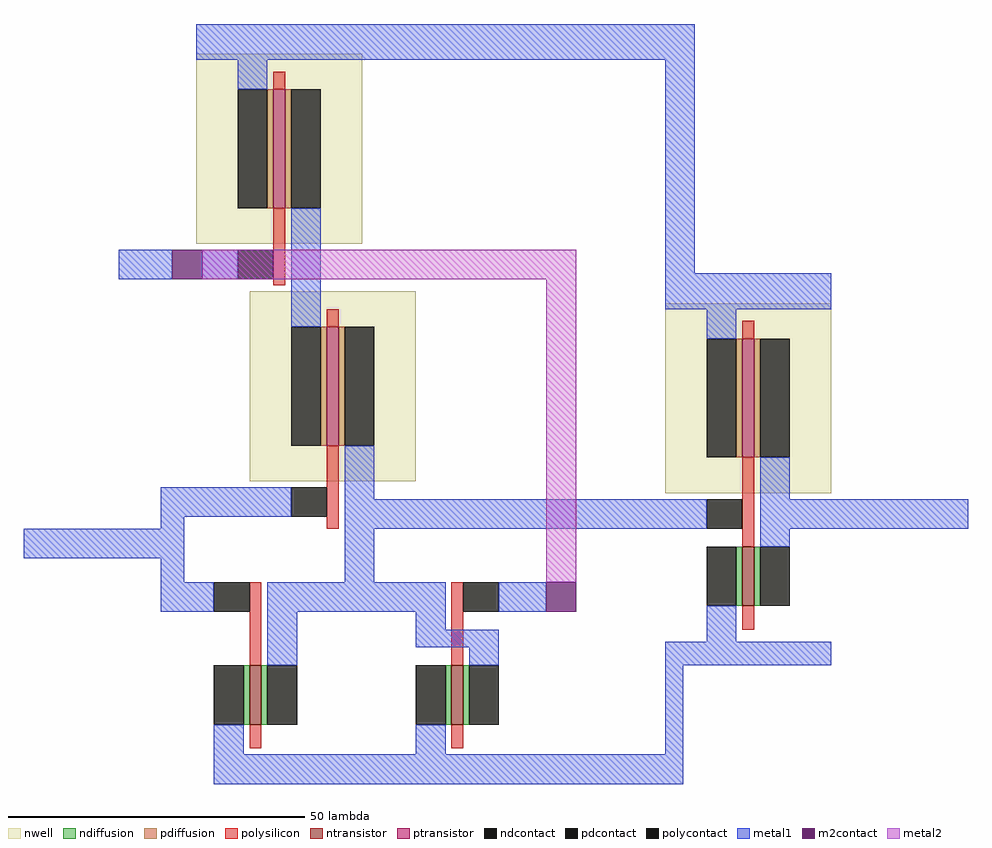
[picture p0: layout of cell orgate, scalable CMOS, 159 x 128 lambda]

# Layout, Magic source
magic
tech scmos
<< nwell >>
rect -74 71 -46 103
rect -65 31 -37 63
<< ntransistor >>
rect -65 -10 -63 0
rect -31 -10 -29 0
<< ptransistor >>
rect -61 77 -59 97
rect -52 37 -50 57
<< ndiffusion >>
rect -66 -10 -65 0
rect -63 -10 -62 0
rect -32 -10 -31 0
rect -29 -10 -28 0
<< pdiffusion >>
rect -62 77 -61 97
rect -59 77 -58 97
rect -53 37 -52 57
rect -50 37 -49 57
<< ndcontact >>
rect -71 -10 -66 0
rect -62 -10 -57 0
rect -37 -10 -32 0
rect -28 -10 -23 0
<< pdcontact >>
rect -67 77 -62 97
rect -58 77 -53 97
rect -58 37 -53 57
rect -49 37 -44 57
<< polysilicon >>
rect -61 97 -59 100
rect -61 64 -59 77
rect -52 57 -50 60
rect -52 23 -50 37
rect -65 0 -63 14
rect -31 0 -29 14
rect -65 -14 -63 -10
rect -31 -14 -29 -10
<< polycontact >>
rect -67 65 -61 70
rect -58 25 -52 30
rect -71 9 -65 14
rect -29 9 -23 14
<< metal1 >>
rect -74 102 10 108
rect -67 97 -62 102
rect -87 65 -78 70
rect -73 65 -67 70
rect -58 57 -53 77
rect 5 60 10 102
rect -80 25 -58 30
rect -49 28 -44 37
rect -80 23 -76 25
rect -103 18 -76 23
rect -80 14 -76 18
rect -49 23 1 28
rect 39 23 56 28
rect -49 14 -44 23
rect -80 9 -71 14
rect -62 9 -32 14
rect -23 9 -15 14
rect -62 0 -57 9
rect -37 6 -32 9
rect -37 3 -23 6
rect -28 0 -23 3
rect -71 -15 -66 -10
rect -37 -15 -32 -10
rect 5 -15 8 3
rect -71 -20 8 -15
<< m2contact >>
rect -78 65 -73 70
rect -15 9 -10 14
<< metal2 >>
rect -73 65 -10 70
rect -15 14 -10 65
use inverter  inverter_0
transform 1 0 18 0 1 36
box -18 -36 21 30
<< end >>

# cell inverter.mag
magic
tech scmos
<< nwell >>
rect -13 -7 15 25
<< ntransistor >>
rect 0 -26 2 -16
<< ptransistor >>
rect 0 -1 2 19
<< ndiffusion >>
rect -1 -26 0 -16
rect 2 -26 3 -16
<< pdiffusion >>
rect -1 -1 0 19
rect 2 -1 3 19
<< ndcontact >>
rect -6 -26 -1 -16
rect 3 -26 8 -16
<< pdcontact >>
rect -6 -1 -1 19
rect 3 -1 8 19
<< polysilicon >>
rect 0 19 2 22
rect 0 -16 2 -1
rect 0 -30 2 -26
<< polycontact >>
rect -6 -13 0 -8
<< metal1 >>
rect -13 24 15 30
rect -6 19 -1 24
rect 3 -8 8 -1
rect -18 -13 -6 -8
rect 3 -13 21 -8
rect 3 -16 8 -13
rect -6 -32 -1 -26
rect -13 -36 15 -32
<< end >>
